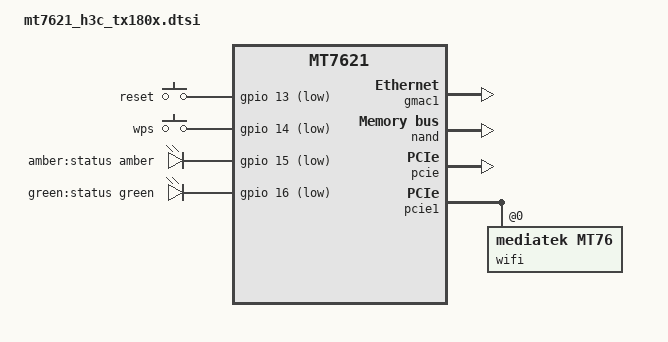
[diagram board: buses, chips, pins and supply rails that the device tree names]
// SPDX-License-Identifier: GPL-2.0-or-later OR MIT

#include "mt7621.dtsi"

#include <dt-bindings/gpio/gpio.h>
#include <dt-bindings/input/input.h>
#include <dt-bindings/leds/common.h>

/ {
	aliases {
		led-boot = &led_status_amber;
		led-failsafe = &led_status_green;
		led-running = &led_status_green;
		led-upgrade = &led_status_amber;
	};

	chosen {
		bootargs = "console=ttyS0,115200";
		bootargs-override = "console=ttyS0,115200";
	};

	keys {
		compatible = "gpio-keys";

		reset {
			label = "reset";
			gpios = <&gpio 13 GPIO_ACTIVE_LOW>;
			linux,code = <KEY_RESTART>;
		};

		wps {
			label = "wps";
			gpios = <&gpio 14 GPIO_ACTIVE_LOW>;
			linux,code = <KEY_WPS_BUTTON>;
		};
	};

	leds {
		compatible = "gpio-leds";

		led_status_amber: led-0 {
			label = "amber:status";
			color = <LED_COLOR_ID_AMBER>;
			function = LED_FUNCTION_STATUS;
			gpios = <&gpio 15 GPIO_ACTIVE_LOW>;
		};

		led_status_green: led-1 {
			label = "green:status";
			color = <LED_COLOR_ID_GREEN>;
			function = LED_FUNCTION_STATUS;
			gpios = <&gpio 16 GPIO_ACTIVE_LOW>;
		};
	};
};

&gmac1 {
	status = "okay";
};

&nand {
	status = "okay";

	mediatek,nmbm;
	mediatek,bmt-max-ratio = <1>;
	mediatek,bmt-max-reserved-blocks = <64>;
	mediatek,bmt-remap-range = <0x0000000 0x0a00000>;

	partitions {
		compatible = "fixed-partitions";
		#address-cells = <1>;
		#size-cells = <1>;

		partition@0 {
			label = "u-boot";
			reg = <0x0000000 0x0080000>;
			read-only;
		};

		partition@80000 {
			label = "u-boot-env";
			reg = <0x0080000 0x0080000>;
		};

		partition@100000 {
			label = "exp";
			reg = <0x0100000 0x0080000>;
			read-only;
		};

		factory: partition@180000 {
			label = "factory";
			reg = <0x0180000 0x0080000>;
			read-only;
		};

		partition@200000 {
			label = "firmware";
			reg = <0x0200000 0x7600000>;

			compatible = "fixed-partitions";
			#address-cells = <1>;
			#size-cells = <1>;

			partition@0 {
				label = "kernel";
				reg = <0x0000000 0x0800000>;
			};

			partition@800000 {
				label = "ubi";
				reg = <0x0800000 0x6e00000>;
			};
		};

		/* last 8 MiB is reserved for NMBM bad block table */
	};
};

&pcie {
	status = "okay";
};

&pcie1 {
	wifi@0,0 {
		compatible = "mediatek,mt76";
		reg = <0x0000 0 0 0 0>;
		mediatek,mtd-eeprom = <&factory 0x0>;
		mediatek,disable-radar-background;
	};
};

&pcie2 {
	status = "disabled";
};

&state_default {
	gpio {
		groups = "jtag";
		function = "gpio";
	};
};

&switch0 {
	ports {
		port@1 {
			status = "okay";
			label = "lan1";
		};

		port@2 {
			status = "okay";
			label = "lan2";
		};

		port@3 {
			status = "okay";
			label = "lan3";
		};

		port@4 {
			status = "okay";
			label = "wan";
		};
	};
};

&xhci {
	status = "disabled";
};
